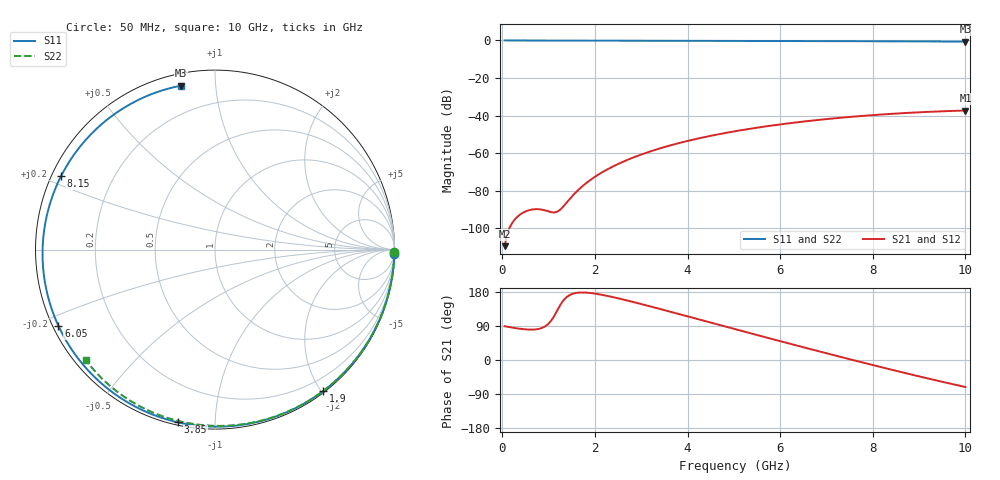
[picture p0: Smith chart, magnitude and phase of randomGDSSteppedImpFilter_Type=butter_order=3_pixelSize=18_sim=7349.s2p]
! freq	dB(S11)	phase(S11)	dB(S12)	phase(S12)
!  dB(S21)	phase(S21)	dB(S22)	phase(S22)
!S-par simulation data
#  GHz  S  DB  R 50
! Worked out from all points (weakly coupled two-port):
!   200 points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, 50 MHz to 10 GHz, reference 50 ohm
!   highest |S21| = -37.28 dB at 10 GHz (marker M1); lowest = -109.5 dB at 50 MHz (marker M2)
!   lowest |S11| = -0.6 dB at 10 GHz (marker M3), VSWR 28.72, Z = 2.89 + j40.6 ohm
!   |S11| at or under -10 dB: nowhere
!   |S22| runs from -0.5 to 0.0 dB; largest |S21 - S12| = 0
!   S11 on the Smith chart (normalised r, x): 50 MHz: 0, -80; 1.9 GHz: 0.02, -2.02; 3.85 GHz: 0.01, -0.81; 6.05 GHz: 0.02, -0.23; 8.15 GHz: 0.03, +0.23; 10 GHz: 0.06, +0.81
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0.05  -0.00 -1.4  -109.48 89.1  -109.48 89.1  -0.00 -0.8
0.4  -0.02 -11.3  -92.37 82.1  -92.37 82.1  -0.01 -6.4
0.8  -0.03 -22.5  -89.86 82.4  -89.86 82.4  -0.02 -12.8
1.6  -0.06 -44.6  -80.53 177.1  -80.53 177.1  -0.03 -25.5
1.75  -0.06 -48.6  -77.16 178.2  -77.16 178.2  -0.04 -27.8
1.9  -0.07 -52.6  -74.28 176.9  -74.28 176.9  -0.04 -30.1
2.2  -0.08 -60.6  -69.55 170.9  -69.55 170.9  -0.04 -34.8
2.55  -0.09 -69.7  -65.19 161.4  -65.19 161.4  -0.05 -40.1
2.95  -0.10 -79.9  -61.16 149.3  -61.16 149.3  -0.06 -46.2
3.4  -0.12 -91.1  -57.47 134.9  -57.47 134.9  -0.07 -52.9
3.85  -0.14 -102.2  -54.40 120.1  -54.40 120.1  -0.08 -59.5
4.45  -0.16 -116.5  -51.01 100.4  -51.01 100.4  -0.10 -68.1
5.05  -0.20 -130.6  -48.22 80.6  -48.22 80.6  -0.12 -76.4
5.55  -0.23 -142.3  -46.24 64.3  -46.24 64.3  -0.14 -83.3
6.05  -0.26 -154.0  -44.53 48.1  -44.53 48.1  -0.16 -90.0
6.7  -0.31 -169.3  -42.62 27.3  -42.62 27.3  -0.19 -98.5
7.45  -0.38 172.4  -40.82 3.7  -40.82 3.7  -0.24 -108.0
8.15  -0.44 154.5  -39.47 -17.9  -39.47 -17.9  -0.29 -116.8
8.35  -0.46 149.2  -39.14 -24.0  -39.14 -24.0  -0.31 -119.2
8.8  -0.50 136.9  -38.49 -37.4  -38.49 -37.4  -0.35 -124.7
9.25  -0.54 124.2  -37.95 -50.5  -37.95 -50.5  -0.39 -130.2
10  -0.61 101.8  -37.28 -71.3  -37.28 -71.3  -0.47 -139.4
